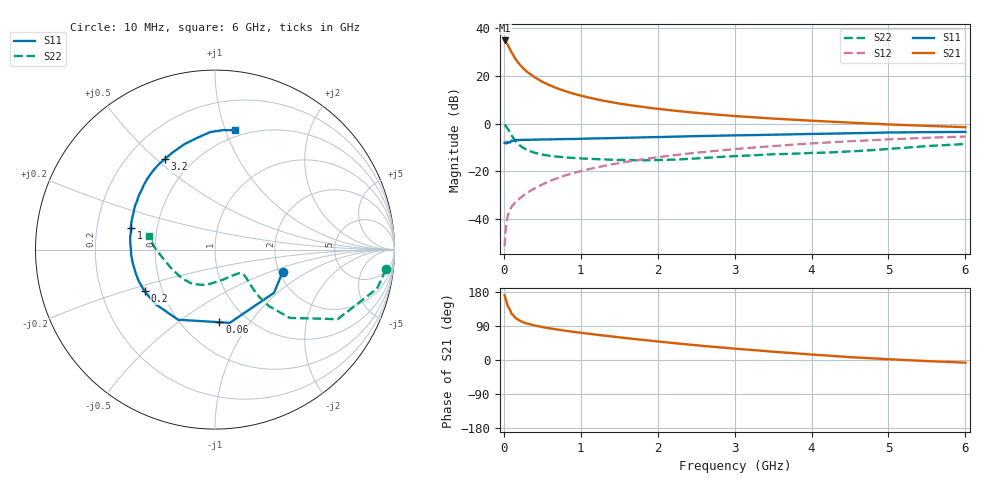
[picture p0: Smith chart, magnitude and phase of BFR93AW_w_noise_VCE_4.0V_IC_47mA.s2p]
! Infineon Technologies  Discrete & RF Semiconductors
! BFR93AW
! VCE =  4.0 V,  IC =  47 mA
! Common Emitter S-Parameters:  Jan 2017
# GHz  S  MA  R  50
!  f  S11  S21  S12  S22
! GHz  MAG  ANG  MAG  ANG  MAG  ANG  MAG  ANG
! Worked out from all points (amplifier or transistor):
!   77 points, 10 MHz to 6 GHz, reference 50 ohm
!   highest |S21| = 34.9 dB at 10 MHz (marker M1)
!   |S21| within 3 dB of that: start of sweep to 68.91 MHz
!   unconditionally stable (mu >= 1): 456.8 MHz to 2.055 GHz
!   at 130 MHz: K = 0.62, MSG = 31.0 dB, |S12| = -33.6 dB
!   at 2.2 GHz: K = 0.99, MSG = 9.4 dB, |S12| = -13.3 dB
!   at 6 GHz: K = 0.89, MSG = 2.0 dB, |S12| = -5.4 dB
!   lowest NFmin = 2.21 dB at 450 MHz
!   S11 on the Smith chart (normalised r, x): 10 MHz: 2.08, -0.62; 60 MHz: 0.75, -0.73; 200 MHz: 0.40, -0.23; 1 GHz: 0.35, +0.11; 3.2 GHz: 0.35, +0.53; 6 GHz: 0.44, +1.08
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0.01  0.3966 -18.5  55.89 171.2  0.0027 77.7  0.9595 -6.6
0.02  0.4077 -36.2  55.01 163.1  0.005 79.8  0.9282 -13.6
0.05  0.4163 -78.6  45.32 142.4  0.0117 68.4  0.7854 -29.6
0.06  0.4053 -86.5  42.22 139.4  0.0129 66.3  0.7389 -31.5
0.1  0.4416 -117.8  31.5 122.1  0.018 61.0  0.5647 -42.4
0.15  0.4498 -137.6  23.06 111.3  0.0226 60.8  0.4334 -46.4
0.2  0.4559 -149.3  17.97 104.5  0.0264 63.3  0.3594 -46.9
0.25  0.4595 -157.1  14.69 99.7  0.0308 64.7  0.3134 -46.1
0.3  0.4608 -162.4  12.35 96.3  0.0352 65.5  0.2817 -44.9
0.4  0.4641 -170.2  9.432 90.9  0.0439 69.1  0.2459 -42.8
0.5  0.4678 -176.2  7.59 86.9  0.0532 70.5  0.2251 -41.6
0.6  0.4693 179.1  6.379 83.3  0.0631 71.5  0.212 -41.2
0.7  0.4736 175.4  5.483 80.3  0.0725 72.2  0.2038 -41.3
1  0.4839 165.5  3.891 71.9  0.1013 71.8  0.1868 -44.7
1.1  0.489 162.9  3.555 69.5  0.1111 71.6  0.1847 -46.8
1.5  0.5043 153.0  2.657 59.9  0.1494 69.1  0.1739 -57.2
2.1  0.5296 139.8  1.973 46.9  0.2078 64.0  0.1746 -79.1
3.1  0.5732 121.0  1.417 28.4  0.3025 54.5  0.2124 -113.0
3.2  0.5764 119.2  1.383 26.9  0.3118 53.4  0.2159 -115.9
4.1  0.6148 104.6  1.137 13.1  0.3948 43.9  0.246 -142.3
5.1  0.6574 91.0  0.954 1.1  0.4771 32.8  0.3037 -173.7
6  0.6745 80.6  0.847 -7.0  0.5397 22.7  0.3759 168.2
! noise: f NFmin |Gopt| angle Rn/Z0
0.45  2.21  0.25  -178  0.17
0.9  2.51  0.3  -168  0.17
1.9  3.61  0.53  -132  0.4
2.4  4.34  0.57  -122  0.75
